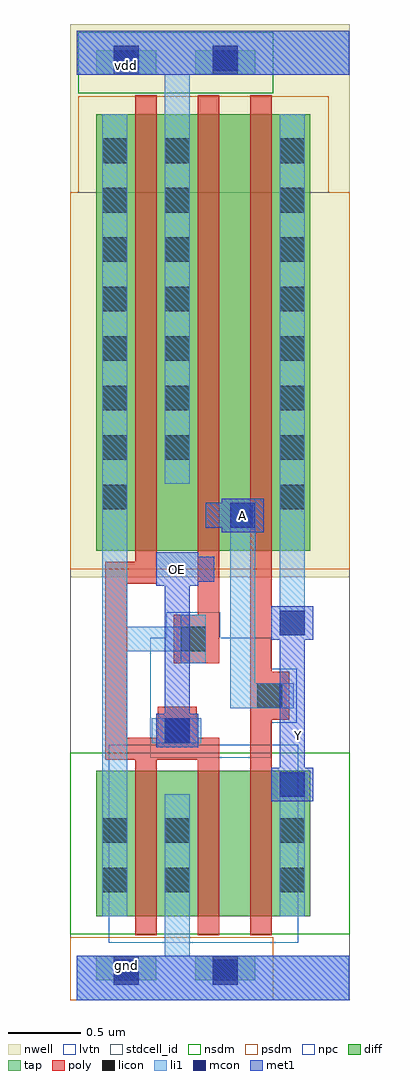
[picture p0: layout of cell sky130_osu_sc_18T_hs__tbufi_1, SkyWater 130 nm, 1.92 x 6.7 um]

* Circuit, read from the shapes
.subckt sky130_osu_sc_18T_hs__tbufi_1 A OE Y gnd vdd
XM1 gnd OE n1 gnd sky130_fd_pr__nfet_01v8_lvt w=1 l=0.15
XM2 n2 OE gnd gnd sky130_fd_pr__nfet_01v8_lvt w=1 l=0.15
XM3 Y A n2 gnd sky130_fd_pr__nfet_01v8_lvt w=1 l=0.15
XM4 vdd OE n1 vdd sky130_fd_pr__pfet_01v8 w=3 l=0.15
XM5 n3 n1 vdd vdd sky130_fd_pr__pfet_01v8 w=3 l=0.15
XM6 Y A n3 vdd sky130_fd_pr__pfet_01v8 w=3 l=0.15
.ends

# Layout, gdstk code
import gdstk
lib = gdstk.Library(unit=1e-6, precision=1e-09)
def R(c, l, rs):  # rectangles x0, y0, x1, y1
    for r in rs: c.add(gdstk.rectangle(r[:2], r[2:], *l))
def A(c, l, x, y, w, h, nx, ny, dx, dy):  # array of equal rectangles
    R(c, l, [(x+i*dx, y+j*dy, x+i*dx+w, y+j*dy+h) for i in range(nx) for j in range(ny)])
nwell = (64, 20)
diff = (65, 20)
tap = (65, 44)
poly = (66, 20)
licon = (66, 44)
li1 = (67, 20)
mcon = (67, 44)
met1 = (68, 20)
stdcell_id = (81, 4)
nsdm = (93, 44)
psdm = (94, 20)
npc = (95, 20)
lvtn = (125, 44)

sky130_osu_sc_18t_hs__tb = lib.new_cell('sky130_osu_sc_18T_hs__tbufi_1')
R(sky130_osu_sc_18t_hs__tb, nwell, [(-0.045,2.905,1.875,6.705)])
R(sky130_osu_sc_18t_hs__tb, diff, [(0.135,0.575,1.605,1.575), (0.135,3.085,1.605,6.085)])
R(sky130_osu_sc_18t_hs__tb, tap, [(0.135,0.135,0.545,0.305), (0.815,0.135,1.225,0.305), (0.135,6.355,0.545,6.525), (0.815,6.355,1.225,6.525)])
R(sky130_osu_sc_18t_hs__tb, poly, [(0.4,0.445,0.55,1.65), (0.83,0.445,0.98,1.65), (1.19,0.445,1.34,1.925), (0.195,1.65,0.98,1.8), (0.195,1.8,0.345,2.86), (0.555,1.8,0.825,2.015), (1.19,1.925,1.46,2.255), (1.19,2.255,1.34,6.215), (0.665,2.315,0.98,2.645), (0.83,2.645,0.98,6.215), (0.195,2.86,0.55,3.01), (0.4,3.01,0.55,6.215)])
A(sky130_osu_sc_18t_hs__tb, licon, 0.175, 3.37, 0.17, 0.17, 1, 8, 0, 0.34)
A(sky130_osu_sc_18t_hs__tb, licon, 1.395, 3.37, 0.17, 0.17, 1, 8, 0, 0.34)
A(sky130_osu_sc_18t_hs__tb, licon, 0.605, 3.71, 0.17, 0.17, 1, 7, 0, 0.34)
R(sky130_osu_sc_18t_hs__tb, licon, [(0.255,0.135,0.425,0.305), (0.935,0.135,1.105,0.305), (0.175,0.74,0.345,0.91), (0.605,0.74,0.775,0.91), (1.395,0.74,1.565,0.91), (0.175,1.08,0.345,1.25), (0.605,1.08,0.775,1.25), (1.395,1.08,1.565,1.25), (0.605,1.765,0.775,1.935), (1.24,2.005,1.41,2.175), (0.715,2.395,0.885,2.565), (0.255,6.355,0.425,6.525), (0.935,6.355,1.105,6.525)])
R(sky130_osu_sc_18t_hs__tb, li1, [(0,0,1.87,0.305), (0.605,0.305,0.775,1.415), (0.175,0.575,0.345,2.395), (1.395,0.575,1.565,1.565), (0.515,1.765,0.855,1.935), (1.055,2.005,1.49,2.175), (1.055,2.175,1.225,3.415), (0.715,2.315,0.885,2.395), (0.175,2.395,0.885,2.565), (1.395,2.505,1.565,6.085), (0.175,2.565,0.345,6.085), (0.715,2.565,0.885,2.645), (0.605,3.545,0.775,6.355), (0,6.355,1.87,6.66)])
R(sky130_osu_sc_18t_hs__tb, mcon, [(0.255,0.105,0.425,0.275), (0.935,0.105,1.105,0.275), (1.395,1.395,1.565,1.565), (0.605,1.765,0.775,1.935), (1.395,2.505,1.565,2.675), (1.055,3.245,1.225,3.415), (0.255,6.385,0.425,6.555), (0.935,6.385,1.105,6.555)])
R(sky130_osu_sc_18t_hs__tb, met1, [(0,0,1.87,0.305), (1.335,1.365,1.625,1.595), (1.395,1.595,1.565,2.475), (0.545,1.735,0.835,1.965), (0.605,1.965,0.775,2.845), (1.335,2.475,1.625,2.705), (0.545,2.845,0.835,2.875), (0.545,2.875,0.945,3.045), (0.545,3.045,0.835,3.075), (0.995,3.215,1.285,3.245), (0.885,3.245,1.285,3.415), (0.995,3.415,1.285,3.445), (0,6.355,1.87,6.66)])
R(sky130_osu_sc_18t_hs__tb, stdcell_id, [(-0.045,0,1.875,5.55)])
R(sky130_osu_sc_18t_hs__tb, nsdm, [(-0.045,0.45,1.875,1.7), (0.01,6.23,1.35,6.65)])
R(sky130_osu_sc_18t_hs__tb, psdm, [(-0.045,0,1.35,0.43), (-0.045,2.96,1.875,5.55), (0.01,5.55,1.73,6.21)])
R(sky130_osu_sc_18t_hs__tb, npc, [(0.505,1.665,1.335,1.905), (0.505,1.905,1.51,2.275), (0.505,2.275,1.335,2.49), (0.615,2.49,0.985,2.665)])
R(sky130_osu_sc_18t_hs__tb, lvtn, [(0.22,0.395,1.52,1.755)])
sky130_osu_sc_18t_hs__tb.add(gdstk.Label('gnd', (0.34,0.24), layer=68, texttype=16))
sky130_osu_sc_18t_hs__tb.add(gdstk.Label('vdd', (0.34,6.42), layer=68, texttype=16))
sky130_osu_sc_18t_hs__tb.add(gdstk.Label('Y', (1.525,1.82), layer=68, texttype=5))
sky130_osu_sc_18t_hs__tb.add(gdstk.Label('A', (1.14,3.33), layer=68, texttype=5))
sky130_osu_sc_18t_hs__tb.add(gdstk.Label('OE', (0.69,2.96), layer=68, texttype=5))

lib.write_gds('sky130_osu_sc_18T_hs__tbufi_1.gds')
